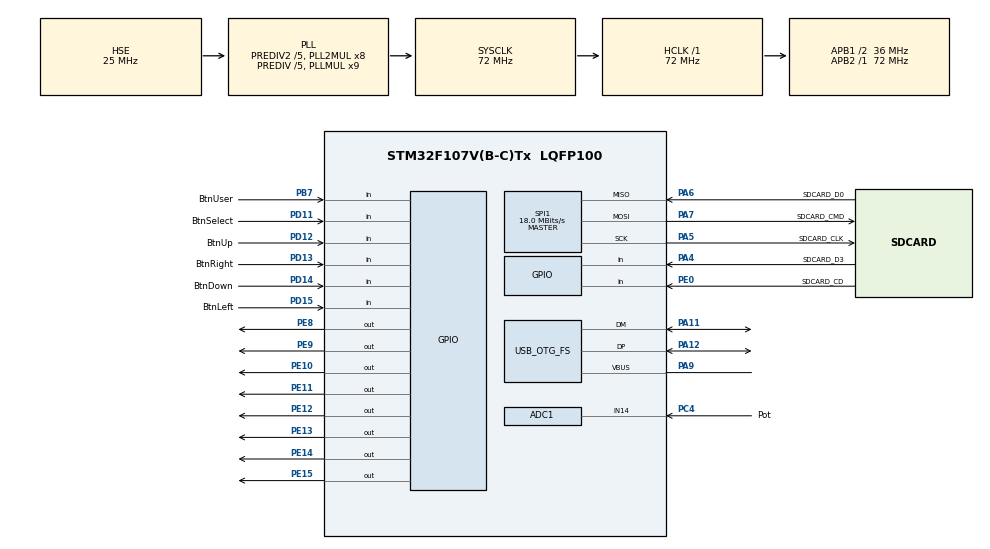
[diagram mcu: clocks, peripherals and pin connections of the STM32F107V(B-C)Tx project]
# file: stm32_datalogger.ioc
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ADC1.Channel-0\#ChannelRegularConversion=ADC_CHANNEL_14
ADC1.NbrOfConversionFlag=1
ADC1.Rank-0\#ChannelRegularConversion=1
ADC1.SamplingTime-0\#ChannelRegularConversion=ADC_SAMPLETIME_1CYCLE_5
ADC1.master=1
FREERTOS.Tasks01=defaultTask,24,128,StartDefaultTask,Default,NULL,Dynamic,NULL,NULL
FREERTOS.configUSE_NEWLIB_REENTRANT=1
Mcu.Family=STM32F1
Mcu.Name=STM32F107V(B-C)Tx
Mcu.Package=LQFP100
NVIC.PriorityGroup=NVIC_PRIORITYGROUP_4
NVIC.TIM7_IRQn=true\:15\:0\:false\:false\:true\:false\:false\:true\:true
NVIC.TimeBase=TIM7_IRQn
NVIC.TimeBaseIP=TIM7
OSC_IN.Mode=HSE-External-Oscillator
OSC_IN.Signal=RCC_OSC_IN
OSC_OUT.Mode=HSE-External-Oscillator
OSC_OUT.Signal=RCC_OSC_OUT
PA11.Mode=Device_Only
PA11.Signal=USB_OTG_FS_DM
PA12.Mode=Device_Only
PA12.Signal=USB_OTG_FS_DP
PA13.Mode=Trace_Asynchronous_SW
PA13.Signal=SYS_JTMS-SWDIO
PA14.Mode=Trace_Asynchronous_SW
PA14.Signal=SYS_JTCK-SWCLK
PA4.GPIO_Label=SDCARD_D3
PA4.Signal=GPIO_Input
PA5.GPIO_Label=SDCARD_CLK
PA5.Mode=Full_Duplex_Master
PA5.Signal=SPI1_SCK
PA6.GPIO_Label=SDCARD_D0
PA6.Mode=Full_Duplex_Master
PA6.Signal=SPI1_MISO
PA7.GPIO_Label=SDCARD_CMD
PA7.Mode=Full_Duplex_Master
PA7.Signal=SPI1_MOSI
PA9.Mode=Activate_VBUS
PA9.Signal=USB_OTG_FS_VBUS
PB3.Mode=Trace_Asynchronous_SW
PB3.Signal=SYS_TRACESWO
PB7.GPIO_Label=BtnUser
PB7.Signal=GPIO_Input
PC14-OSC32_IN.Mode=LSE-External-Oscillator
PC14-OSC32_IN.Signal=RCC_OSC32_IN
PC15-OSC32_OUT.Mode=LSE-External-Oscillator
PC15-OSC32_OUT.Signal=RCC_OSC32_OUT
PC4.GPIO_Label=Pot
PC4.Signal=ADCx_IN14
PD11.GPIO_Label=BtnSelect
PD11.Signal=GPIO_Input
PD12.GPIO_Label=BtnUp
PD12.Signal=GPIO_Input
PD13.GPIO_Label=BtnRight
PD13.Signal=GPIO_Input
PD14.GPIO_Label=BtnDown
PD14.Signal=GPIO_Input
PD15.GPIO_Label=BtnLeft
PD15.Signal=GPIO_Input
PE0.GPIO_Label=SDCARD_CD
PE0.Signal=GPIO_Input
PE10.Signal=GPIO_Output
PE11.Signal=GPIO_Output
PE12.Signal=GPIO_Output
PE13.Signal=GPIO_Output
PE14.Signal=GPIO_Output
PE15.Signal=GPIO_Output
PE8.Signal=GPIO_Output
PE9.Signal=GPIO_Output
ProjectManager.HeapSize=0x200
ProjectManager.StackSize=0x400
ProjectManager.TargetToolchain=STM32CubeIDE
RCC.ADCPresc=RCC_ADCPCLK2_DIV6
RCC.AHBFreq_Value=72000000
RCC.APB1CLKDivider=RCC_HCLK_DIV2
RCC.APB1Freq_Value=36000000
RCC.APB1TimFreq_Value=72000000
RCC.APB2Freq_Value=72000000
RCC.APB2TimFreq_Value=72000000
RCC.HCLKFreq_Value=72000000
RCC.HSEDivPLL=RCC_HSE_PREDIV_DIV5
RCC.HSE_VALUE=25000000
RCC.PLLMUL=RCC_PLL_MUL9
RCC.PLLSourceVirtual=RCC_PLLSOURCE_HSE
RCC.Prediv1Source=RCC_PREDIV1_SOURCE_PLL2
RCC.Prediv2=RCC_HSE_PREDIV2_DIV5
RCC.SYSCLKFreq_VALUE=72000000
RCC.SYSCLKSource=RCC_SYSCLKSOURCE_PLLCLK
RCC.USBFreq_Value=48000000
RTC.Date=25
RTC.Hours=12
RTC.Month=RTC_MONTH_JUNE
RTC.Year=26
SH.ADCx_IN14.0=ADC1_IN14,IN14
SPI1.BaudRatePrescaler=SPI_BAUDRATEPRESCALER_4
SPI1.CalculateBaudRate=18.0 MBits/s
SPI1.Direction=SPI_DIRECTION_2LINES
SPI1.Mode=SPI_MODE_MASTER
SPI1.VirtualType=VM_MASTER
USB_OTG_FS.VirtualMode=Device_Only
VP_FREERTOS_VS_CMSIS_V2.Mode=CMSIS_V2
VP_RTC_VS_RTC_Activate.Mode=RTC_Enabled
VP_RTC_VS_RTC_Calendar.Mode=RTC_Calendar
VP_SYS_VS_tim7.Mode=TIM7
board=custom

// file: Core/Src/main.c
/* USER CODE BEGIN Header */
/**
  ******************************************************************************
  * @file           : main.c
  * @brief          : Main program body
  ******************************************************************************
  * @attention
  *
  * Copyright (c) 2026 STMicroelectronics.
  * All rights reserved.
  *
  * This software is licensed under terms that can be found in the LICENSE file
  * in the root directory of this software component.
  * If no LICENSE file comes with this software, it is provided AS-IS.
  *
  ******************************************************************************
  */
/* USER CODE END Header */
#include "main.h"
#include "cmsis_os.h"

/* USER CODE BEGIN Includes */
#include "datalogger.h"
#include "task_sampler.h"
#include "task_gpio.h"
#include "task_storage.h"
#include "board.h"
#include "task_usb.h"
#include "proto.h"
/* USER CODE END Includes */

ADC_HandleTypeDef hadc1;

RTC_HandleTypeDef hrtc;

SPI_HandleTypeDef hspi1;

/* Definitions for defaultTask */
osThreadId_t defaultTaskHandle;
const osThreadAttr_t defaultTask_attributes = {
  .name = "defaultTask",
  .stack_size = 128 * 4,
  .priority = (osPriority_t) osPriorityNormal,
};

void SystemClock_Config(void);
static void MX_GPIO_Init(void);
static void MX_ADC1_Init(void);
static void MX_RTC_Init(void);
static void MX_SPI1_Init(void);
void StartDefaultTask(void *argument);

/* USER CODE BEGIN 0 */
static void diag_blink(uint16_t pin, int n) {
  for (int i = 0; i < n; i++) {
    HAL_GPIO_WritePin(GPIOE, pin, GPIO_PIN_SET);
    for (volatile uint32_t d = 0; d < 300000; d++) __NOP();
    HAL_GPIO_WritePin(GPIOE, pin, GPIO_PIN_RESET);
    for (volatile uint32_t d = 0; d < 300000; d++) __NOP();
  }
}
/* USER CODE END 0 */

int main(void)
{
  /* USER CODE BEGIN 1 */
  /* Early LED diagnostic: blink PE8 before any init to confirm CPU starts. */
  __HAL_RCC_GPIOE_CLK_ENABLE();
  GPIO_InitTypeDef gpioe = {0};
  gpioe.Pin   = GPIO_PIN_8|GPIO_PIN_9|GPIO_PIN_10|GPIO_PIN_11
              |GPIO_PIN_12|GPIO_PIN_13|GPIO_PIN_14|GPIO_PIN_15;
  gpioe.Mode  = GPIO_MODE_OUTPUT_PP;
  gpioe.Pull  = GPIO_NOPULL;
  gpioe.Speed = GPIO_SPEED_FREQ_LOW;
  HAL_GPIO_Init(GPIOE, &gpioe);
  for (int i = 0; i < 6; i++) {
    HAL_GPIO_TogglePin(GPIOE, GPIO_PIN_8);
    for (volatile uint32_t d = 0; d < 500000; d++) __NOP();
  }
  /* USER CODE END 1 */

  /* MCU Configuration--------------------------------------------------------*/

  /* Reset of all peripherals, Initializes the Flash interface and the Systick. */
  HAL_Init();

  /* Configure the system clock */
  SystemClock_Config();
  diag_blink(GPIO_PIN_9, 2);  /* D1a: SystemClock_Config retornou */

  /* USER CODE BEGIN SysInit */
  /*
   * LSE + USB clock setup (regen-safe; runs after SystemClock_Config set LSI).
   *
   * RTC clock source can only be changed when the backup domain is either
   * freshly reset or RTCSEL is still 00. On VBAT-powered subsequent boots
   * the backup domain retains LSE selection and SystemClock_Config's LSI
   * write is silently ignored by hardware.
   */
  HAL_PWR_EnableBkUpAccess();

  if (__HAL_RCC_GET_RTC_SOURCE() != RCC_RTCCLKSOURCE_LSE)
  {
    /* First cold boot: reset backup domain so RTCSEL can be changed */
    __HAL_RCC_BACKUPRESET_FORCE();
    __HAL_RCC_BACKUPRESET_RELEASE();
    HAL_PWR_EnableBkUpAccess();  /* re-enable: BDRST cleared DBP */

    RCC_OscInitTypeDef lse_osc = {0};
    lse_osc.OscillatorType = RCC_OSCILLATORTYPE_LSE;
    lse_osc.LSEState       = RCC_LSE_ON;
    if (HAL_RCC_OscConfig(&lse_osc) == HAL_OK)
    {
      __HAL_RCC_RTC_CONFIG(RCC_RTCCLKSOURCE_LSE);
    }
    else
    {
      /* LSE failed (crystal issue?); fall back to LSI */
      __HAL_RCC_RTC_CONFIG(RCC_RTCCLKSOURCE_LSI);
    }
    __HAL_RCC_RTC_ENABLE();
  }

  /* USB OTG FS: PLL VCO / 3 = 48 MHz (OTGFSPRE=0 = RCC_USBCLKSOURCE_PLL_DIV3 in HAL) */
  {
    RCC_PeriphCLKInitTypeDef usb_clk = {0};
    usb_clk.PeriphClockSelection = RCC_PERIPHCLK_USB;
    usb_clk.UsbClockSelection    = RCC_USBCLKSOURCE_PLL_DIV3;
    HAL_RCCEx_PeriphCLKConfig(&usb_clk);
  }
  /* USER CODE END SysInit */

  /* Initialize all configured peripherals */
  diag_blink(GPIO_PIN_11, 1);  /* D2: prestes a iniciar periféricos */
  MX_GPIO_Init();
  diag_blink(GPIO_PIN_12, 2);  /* D3a: MX_GPIO_Init OK */
  MX_ADC1_Init();
  diag_blink(GPIO_PIN_13, 2);  /* D3b: MX_ADC1_Init OK */
  MX_RTC_Init();
  diag_blink(GPIO_PIN_14, 2);  /* D3c: MX_RTC_Init OK */
  MX_SPI1_Init();
  diag_blink(GPIO_PIN_15, 2);  /* D3d: MX_SPI1_Init OK */
  /* USER CODE BEGIN 2 */
  HAL_ADCEx_Calibration_Start(&hadc1);
  board_led_init();
  board_usb_init();
  board_iwdg_init();
  diag_blink(GPIO_PIN_11, 3); /* D4: board init OK */
  /* USER CODE END 2 */

  /* Init scheduler */
  osKernelInitialize();

  /* USER CODE BEGIN RTOS_MUTEX */
  static const osMutexAttr_t mtx_sd_attr = { .name = "mtx_sd", .attr_bits = osMutexRecursive };
  mtx_sd = osMutexNew(&mtx_sd_attr);
  /* USER CODE END RTOS_MUTEX */

  /* USER CODE BEGIN RTOS_QUEUES */
  /* add queues, ... */
  q_events = osMessageQueueNew(16, sizeof(LogRecord), NULL);
  q_cmd    = osMessageQueueNew(4, sizeof(StorageCmd), NULL);
  /* USER CODE END RTOS_QUEUES */

  /* Create the thread(s) */
  /* creation of defaultTask */
  defaultTaskHandle = osThreadNew(StartDefaultTask, NULL, &defaultTask_attributes);

  /* USER CODE BEGIN RTOS_THREADS */
  /* add threads, ... */
  static const osThreadAttr_t sampler_attr = {
    .name = "sampler", .stack_size = 512, .priority = osPriorityNormal
  };
  static const osThreadAttr_t gpio_attr = {
    .name = "gpio_scan", .stack_size = 512, .priority = osPriorityAboveNormal
  };
  static const osThreadAttr_t storage_attr = {
    .name = "storage", .stack_size = 1536, .priority = osPriorityNormal
  };
  static const osThreadAttr_t usb_attr = {
    .name = "usb_device", .stack_size = 1024, .priority = osPriorityAboveNormal
  };
  static const osThreadAttr_t proto_attr = {
    .name = "proto", .stack_size = 1024, .priority = osPriorityNormal
  };
  osThreadNew(task_sampler_start, NULL, &sampler_attr);
  osThreadNew(task_gpio_start,    NULL, &gpio_attr);
  osThreadNew(task_storage_start, NULL, &storage_attr);
  osThreadNew(task_usb_start,     NULL, &usb_attr);
  osThreadNew(task_proto_start,   NULL, &proto_attr);
  /* USER CODE END RTOS_THREADS */

  /* Start scheduler */
  osKernelStart();

  /* We should never get here as control is now taken by the scheduler */
  /* Infinite loop */
  while (1)
  {

  }
}

void SystemClock_Config(void)
{
  RCC_OscInitTypeDef RCC_OscInitStruct = {0};
  RCC_ClkInitTypeDef RCC_ClkInitStruct = {0};
  RCC_PeriphCLKInitTypeDef PeriphClkInit = {0};

  /** Initializes the RCC Oscillators according to the specified parameters
  * in the RCC_OscInitTypeDef structure.
  */
  RCC_OscInitStruct.OscillatorType = RCC_OSCILLATORTYPE_LSI|RCC_OSCILLATORTYPE_HSE;
  RCC_OscInitStruct.HSEState = RCC_HSE_ON;
  RCC_OscInitStruct.HSEPredivValue = RCC_HSE_PREDIV_DIV5;
  RCC_OscInitStruct.HSIState = RCC_HSI_ON;
  RCC_OscInitStruct.LSIState = RCC_LSI_ON;
  RCC_OscInitStruct.Prediv1Source = RCC_PREDIV1_SOURCE_PLL2;
  RCC_OscInitStruct.PLL.PLLState = RCC_PLL_ON;
  RCC_OscInitStruct.PLL.PLLSource = RCC_PLLSOURCE_HSE;
  RCC_OscInitStruct.PLL.PLLMUL = RCC_PLL_MUL9;
  RCC_OscInitStruct.PLL2.PLL2State = RCC_PLL2_ON;
  RCC_OscInitStruct.PLL2.PLL2MUL = RCC_PLL2_MUL8;
  RCC_OscInitStruct.PLL2.HSEPrediv2Value = RCC_HSE_PREDIV2_DIV5;
  if (HAL_RCC_OscConfig(&RCC_OscInitStruct) != HAL_OK)
  {
    Error_Handler();
  }

  /** Initializes the CPU, AHB and APB buses clocks
  */
  RCC_ClkInitStruct.ClockType = RCC_CLOCKTYPE_HCLK|RCC_CLOCKTYPE_SYSCLK
                              |RCC_CLOCKTYPE_PCLK1|RCC_CLOCKTYPE_PCLK2;
  RCC_ClkInitStruct.SYSCLKSource = RCC_SYSCLKSOURCE_PLLCLK;
  RCC_ClkInitStruct.AHBCLKDivider = RCC_SYSCLK_DIV1;
  RCC_ClkInitStruct.APB1CLKDivider = RCC_HCLK_DIV2;
  RCC_ClkInitStruct.APB2CLKDivider = RCC_HCLK_DIV1;

  if (HAL_RCC_ClockConfig(&RCC_ClkInitStruct, FLASH_LATENCY_2) != HAL_OK)
  {
    Error_Handler();
  }
  PeriphClkInit.PeriphClockSelection = RCC_PERIPHCLK_RTC|RCC_PERIPHCLK_ADC
                              |RCC_PERIPHCLK_USB;
  PeriphClkInit.RTCClockSelection = RCC_RTCCLKSOURCE_LSI;
  PeriphClkInit.AdcClockSelection = RCC_ADCPCLK2_DIV6;
  PeriphClkInit.UsbClockSelection = RCC_USBCLKSOURCE_PLL_DIV3;
  if (HAL_RCCEx_PeriphCLKConfig(&PeriphClkInit) != HAL_OK)
  {
    Error_Handler();
  }

  /** Configure the Systick interrupt time
  */
  __HAL_RCC_PLLI2S_ENABLE();
}

static void MX_ADC1_Init(void)
{

  ADC_ChannelConfTypeDef sConfig = {0};

  /** Common config
  */
  hadc1.Instance = ADC1;
  hadc1.Init.ScanConvMode = ADC_SCAN_DISABLE;
  hadc1.Init.ContinuousConvMode = DISABLE;
  hadc1.Init.DiscontinuousConvMode = DISABLE;
  hadc1.Init.ExternalTrigConv = ADC_SOFTWARE_START;
  hadc1.Init.DataAlign = ADC_DATAALIGN_RIGHT;
  hadc1.Init.NbrOfConversion = 1;
  diag_blink(GPIO_PIN_12, 1); /* D2c1: before HAL_ADC_Init */
  if (HAL_ADC_Init(&hadc1) != HAL_OK)
  {
    Error_Handler();
  }
  diag_blink(GPIO_PIN_12, 2); /* D2c2: after HAL_ADC_Init */

  /** Configure Regular Channel
  */
  sConfig.Channel = ADC_CHANNEL_14;
  sConfig.Rank = ADC_REGULAR_RANK_1;
  sConfig.SamplingTime = ADC_SAMPLETIME_1CYCLE_5;
  if (HAL_ADC_ConfigChannel(&hadc1, &sConfig) != HAL_OK)
  {
    Error_Handler();
  }
  diag_blink(GPIO_PIN_12, 3); /* D2c3: after first ConfigChannel */
  /* USER CODE BEGIN ADC1_Init 2 */
  /* CubeMX set 1.5 cycles which is too short for a potentiometer source impedance;
     override to 71.5 cycles (~1 us at 72 MHz) to give the S&H capacitor time to charge */
  sConfig.SamplingTime = ADC_SAMPLETIME_71CYCLES_5;
  if (HAL_ADC_ConfigChannel(&hadc1, &sConfig) != HAL_OK) { Error_Handler(); }
  diag_blink(GPIO_PIN_12, 4); /* D2c4: after second ConfigChannel */
  /* USER CODE END ADC1_Init 2 */

}

static void MX_RTC_Init(void)
{

  RTC_TimeTypeDef sTime = {0};
  RTC_DateTypeDef DateToUpdate = {0};

  /** Initialize RTC Only
  */
  hrtc.Instance = RTC;
  hrtc.Init.AsynchPrediv = RTC_AUTO_1_SECOND;
  hrtc.Init.OutPut = RTC_OUTPUTSOURCE_ALARM;
  if (HAL_RTC_Init(&hrtc) != HAL_OK)
  {
    Error_Handler();
  }

  /* USER CODE BEGIN Check_RTC_BKUP */
#define RTC_INIT_MAGIC  0xBEEFU
  if (HAL_RTCEx_BKUPRead(&hrtc, RTC_BKP_DR1) == RTC_INIT_MAGIC)
  {
    return;  /* Time was already set (VBAT kept it); do not overwrite */
  }
  /* USER CODE END Check_RTC_BKUP */

  /** Initialize RTC and set the Time and Date
  */
  sTime.Hours = 0x12;
  sTime.Minutes = 0x0;
  sTime.Seconds = 0x0;

  if (HAL_RTC_SetTime(&hrtc, &sTime, RTC_FORMAT_BCD) != HAL_OK)
  {
    Error_Handler();
  }
  DateToUpdate.WeekDay = RTC_WEEKDAY_MONDAY;
  DateToUpdate.Month = RTC_MONTH_JUNE;
  DateToUpdate.Date = 0x25;
  DateToUpdate.Year = 0x26;

  if (HAL_RTC_SetDate(&hrtc, &DateToUpdate, RTC_FORMAT_BCD) != HAL_OK)
  {
    Error_Handler();
  }
  /* USER CODE BEGIN RTC_Init 2 */
  HAL_RTCEx_BKUPWrite(&hrtc, RTC_BKP_DR1, RTC_INIT_MAGIC);  /* mark time as initialised */
  /* USER CODE END RTC_Init 2 */

}

static void MX_SPI1_Init(void)
{

  /* SPI1 parameter configuration*/
  hspi1.Instance = SPI1;
  hspi1.Init.Mode = SPI_MODE_MASTER;
  hspi1.Init.Direction = SPI_DIRECTION_2LINES;
  hspi1.Init.DataSize = SPI_DATASIZE_8BIT;
  hspi1.Init.CLKPolarity = SPI_POLARITY_LOW;
  hspi1.Init.CLKPhase = SPI_PHASE_1EDGE;
  hspi1.Init.NSS = SPI_NSS_SOFT;
  hspi1.Init.BaudRatePrescaler = SPI_BAUDRATEPRESCALER_4;
  hspi1.Init.FirstBit = SPI_FIRSTBIT_MSB;
  hspi1.Init.TIMode = SPI_TIMODE_DISABLE;
  hspi1.Init.CRCCalculation = SPI_CRCCALCULATION_DISABLE;
  hspi1.Init.CRCPolynomial = 10;
  if (HAL_SPI_Init(&hspi1) != HAL_OK)
  {
    Error_Handler();
  }

}

static void MX_GPIO_Init(void)
{
  GPIO_InitTypeDef GPIO_InitStruct = {0};
/* USER CODE BEGIN MX_GPIO_Init_1 */
  diag_blink(GPIO_PIN_12, 1);  /* D2a: entrou em MX_GPIO_Init */
/* USER CODE END MX_GPIO_Init_1 */

  /* GPIO Ports Clock Enable */
  __HAL_RCC_GPIOC_CLK_ENABLE();
  __HAL_RCC_GPIOA_CLK_ENABLE();
  __HAL_RCC_GPIOE_CLK_ENABLE();
  __HAL_RCC_GPIOD_CLK_ENABLE();
  __HAL_RCC_GPIOB_CLK_ENABLE();

  /*Configure GPIO pin Output Level */
  HAL_GPIO_WritePin(GPIOE, GPIO_PIN_8|GPIO_PIN_9|GPIO_PIN_10|GPIO_PIN_11
                          |GPIO_PIN_12|GPIO_PIN_13|GPIO_PIN_14|GPIO_PIN_15, GPIO_PIN_RESET);

  /*Configure GPIO pin : SDCARD_D3_Pin */
  GPIO_InitStruct.Pin = SDCARD_D3_Pin;
  GPIO_InitStruct.Mode = GPIO_MODE_INPUT;
  GPIO_InitStruct.Pull = GPIO_NOPULL;
  HAL_GPIO_Init(SDCARD_D3_GPIO_Port, &GPIO_InitStruct);

  /*Configure GPIO pins : PE8 PE9 PE10 PE11
                           PE12 PE13 PE14 PE15 */
  GPIO_InitStruct.Pin = GPIO_PIN_8|GPIO_PIN_9|GPIO_PIN_10|GPIO_PIN_11
                          |GPIO_PIN_12|GPIO_PIN_13|GPIO_PIN_14|GPIO_PIN_15;
  GPIO_InitStruct.Mode = GPIO_MODE_OUTPUT_PP;
  GPIO_InitStruct.Pull = GPIO_NOPULL;
  GPIO_InitStruct.Speed = GPIO_SPEED_FREQ_LOW;
  HAL_GPIO_Init(GPIOE, &GPIO_InitStruct);

  /*Configure GPIO pins : BtnSelect_Pin BtnUp_Pin BtnRight_Pin BtnDown_Pin
                           BtnLeft_Pin */
  GPIO_InitStruct.Pin = BtnSelect_Pin|BtnUp_Pin|BtnRight_Pin|BtnDown_Pin
                          |BtnLeft_Pin;
  GPIO_InitStruct.Mode = GPIO_MODE_INPUT;
  GPIO_InitStruct.Pull = GPIO_NOPULL;
  HAL_GPIO_Init(GPIOD, &GPIO_InitStruct);

  /*Configure GPIO pin : BtnUser_Pin */
  GPIO_InitStruct.Pin = BtnUser_Pin;
  GPIO_InitStruct.Mode = GPIO_MODE_INPUT;
  GPIO_InitStruct.Pull = GPIO_NOPULL;
  HAL_GPIO_Init(BtnUser_GPIO_Port, &GPIO_InitStruct);

  /*Configure GPIO pin : SDCARD_CD_Pin */
  GPIO_InitStruct.Pin = SDCARD_CD_Pin;
  GPIO_InitStruct.Mode = GPIO_MODE_INPUT;
  GPIO_InitStruct.Pull = GPIO_NOPULL;
  HAL_GPIO_Init(SDCARD_CD_GPIO_Port, &GPIO_InitStruct);

/* USER CODE BEGIN MX_GPIO_Init_2 */
  /* Fix: CubeMX generated CS (PA4) as INPUT; SD-SPI requires push-pull output idle HIGH */
  HAL_GPIO_WritePin(SDCARD_D3_GPIO_Port, SDCARD_D3_Pin, GPIO_PIN_SET);
  GPIO_InitStruct.Pin   = SDCARD_D3_Pin;
  GPIO_InitStruct.Mode  = GPIO_MODE_OUTPUT_PP;
  GPIO_InitStruct.Pull  = GPIO_NOPULL;
  GPIO_InitStruct.Speed = GPIO_SPEED_FREQ_HIGH;
  HAL_GPIO_Init(SDCARD_D3_GPIO_Port, &GPIO_InitStruct);

  /* Buttons are active-high with external resistors; add internal pull-down as safety net */
  GPIO_InitStruct.Mode = GPIO_MODE_INPUT;
  GPIO_InitStruct.Pull = GPIO_PULLDOWN;
  GPIO_InitStruct.Pin  = BtnSelect_Pin|BtnUp_Pin|BtnRight_Pin|BtnDown_Pin|BtnLeft_Pin;
  HAL_GPIO_Init(GPIOD, &GPIO_InitStruct);
  GPIO_InitStruct.Pin  = BtnUser_Pin;
  HAL_GPIO_Init(BtnUser_GPIO_Port, &GPIO_InitStruct);
/* USER CODE END MX_GPIO_Init_2 */
}

void StartDefaultTask(void *argument)
{
  /* USER CODE BEGIN 5 */
  /* Infinite loop */
  for(;;)
  {
    board_iwdg_refresh();
    osDelay(500);
  }
  /* USER CODE END 5 */
}

void HAL_TIM_PeriodElapsedCallback(TIM_HandleTypeDef *htim)
{
  if (htim->Instance == TIM7) {
    HAL_IncTick();
  }
}

void Error_Handler(void)
{
  __disable_irq();
  while (1)
  {
  }
}
